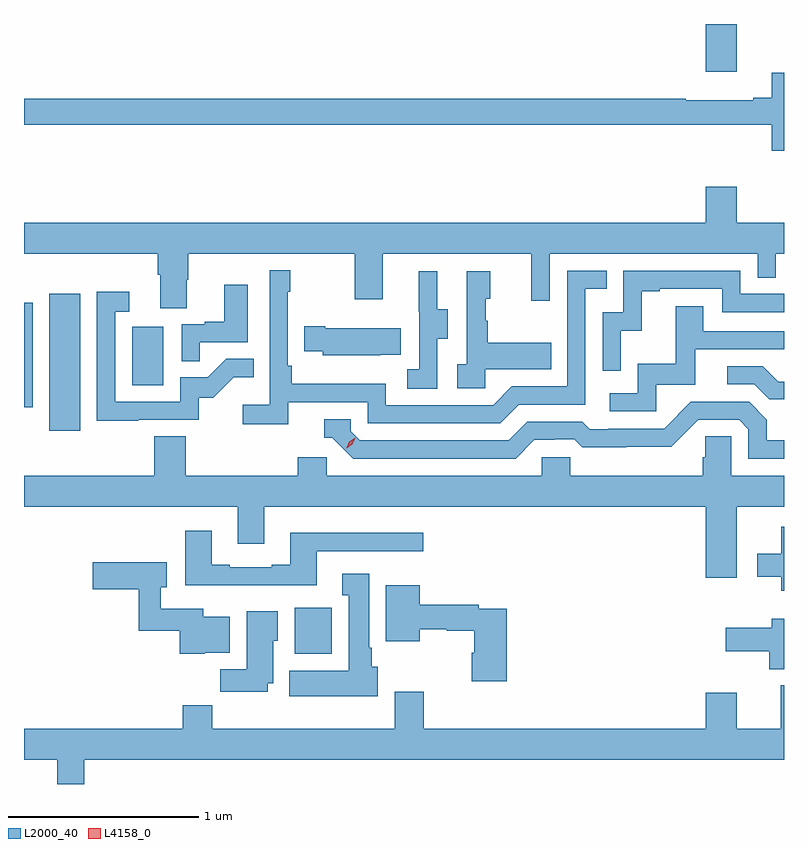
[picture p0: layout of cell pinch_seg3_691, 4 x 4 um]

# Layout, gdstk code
import gdstk
lib = gdstk.Library(unit=1e-6, precision=1e-09)
def R(c, l, rs):  # rectangles x0, y0, x1, y1
    for r in rs: c.add(gdstk.rectangle(r[:2], r[2:], *l))
def P(c, l, *ps):  # polygons
    for p in ps: c.add(gdstk.Polygon(p, *l))
L2000_40 = (2000, 40)
L4158_0 = (4158, 0)

pinch_seg3_691 = lib.new_cell('pinch_seg3_691')
R(pinch_seg3_691, L2000_40, [(1109.897,681.494,1110.094,681.736), (1108.607,682.668,1108.768,683.389), (1108.473,682.791,1108.518,683.342), (1109.042,682.908,1109.206,683.215), (1112.06,684.558,1112.224,684.809)])
P(pinch_seg3_691, L2000_40, [(1112.473,684.553),(1112.408,684.553),(1112.408,684.422),(1112.312,684.422),(1112.312,684.409),(1111.956,684.409),(1111.956,684.416),(1108.473,684.416),(1108.473,684.28),(1112.408,684.28),(1112.408,684.143),(1112.473,684.143)],
  [(1109.329,683.463),(1109.337,683.463),(1109.337,683.6),(1110.214,683.6),(1110.214,683.361),(1110.361,683.361),(1110.361,683.6),(1111.142,683.6),(1111.142,683.352),(1111.239,683.352),(1111.239,683.6),(1112.334,683.6),(1112.334,683.473),(1112.43,683.473),(1112.43,683.6),(1112.473,683.6),(1112.473,683.764),(1112.224,683.764),(1112.224,683.953),(1112.06,683.953),(1112.06,683.764),(1108.473,683.764),(1108.473,683.6),(1109.177,683.6),(1109.177,683.488),(1109.189,683.488),(1109.189,683.314),(1109.329,683.314)],
  [(1109.864,682.818),(1110.282,682.818),(1110.282,682.707),(1110.979,682.707),(1111.078,682.806),(1111.428,682.806),(1111.428,683.415),(1111.541,683.415),(1111.541,683.511),(1111.332,683.511),(1111.332,682.902),(1111.041,682.902),(1110.942,682.803),(1110.378,682.803),(1110.378,682.915),(1109.882,682.915),(1109.882,683.011),(1109.862,683.011),(1109.862,683.399),(1109.875,683.399),(1109.875,683.512),(1109.766,683.512),(1109.766,682.804),(1109.625,682.804),(1109.625,682.702),(1109.864,682.702)],
  [(1111.614,683.195),(1111.724,683.195),(1111.724,683.403),(1111.819,683.403),(1111.819,683.415),(1112.148,683.415),(1112.148,683.292),(1112.473,683.292),(1112.473,683.388),(1112.244,683.388),(1112.244,683.511),(1111.626,683.511),(1111.626,683.292),(1111.518,683.292),(1111.518,682.983),(1111.614,682.983)],
  [(1110.9,682.991),(1111.247,682.991),(1111.247,683.131),(1110.913,683.131),(1110.913,683.246),(1110.903,683.246),(1110.903,683.364),(1110.928,683.364),(1110.928,683.509),(1110.804,683.509),(1110.804,683.018),(1110.753,683.018),(1110.753,682.893),(1110.9,682.893)],
  [(1110.648,683.152),(1110.703,683.152),(1110.703,683.307),(1110.649,683.307),(1110.649,683.509),(1110.551,683.509),(1110.551,683.295),(1110.552,683.295),(1110.552,682.991),(1110.489,682.991),(1110.489,682.888),(1110.648,682.888)],
  [(1109.399,683.133),(1109.65,683.133),(1109.65,683.437),(1109.528,683.437),(1109.528,683.242),(1109.425,683.242),(1109.425,683.229),(1109.304,683.229),(1109.304,683.035),(1109.399,683.035)],
  [(1109.075,682.725),(1109.394,682.725),(1109.394,682.842),(1109.47,682.842),(1109.577,682.949),(1109.681,682.949),(1109.681,683.048),(1109.538,683.048),(1109.44,682.95),(1109.295,682.95),(1109.295,682.821),(1108.953,682.821),(1108.953,683.295),(1109.026,683.295),(1109.026,683.401),(1108.857,683.401),(1108.857,682.72),(1109.075,682.72)],
  [(1111.8,682.911),(1112.005,682.911),(1112.005,683.097),(1112.473,683.097),(1112.473,683.193),(1112.047,683.193),(1112.047,683.323),(1111.903,683.323),(1111.903,683.02),(1111.704,683.02),(1111.704,682.866),(1111.557,682.866),(1111.557,682.77),(1111.8,682.77)],
  [(1110.347,683.069),(1110.455,683.069),(1110.455,683.209),(1110.058,683.209),(1110.058,683.217),(1109.947,683.217),(1109.947,683.087),(1110.045,683.087),(1110.045,683.066),(1110.347,683.066)],
  [(1112.473,682.926),(1112.443,682.926),(1112.362,683.007),(1112.175,683.007),(1112.175,682.914),(1112.316,682.914),(1112.396,682.834),(1112.473,682.834)],
  [(1111.159,682.62),(1111.266,682.62),(1111.266,682.623),(1111.369,682.623),(1111.411,682.581),(1111.644,682.581),(1111.644,682.583),(1111.88,682.583),(1112.022,682.725),(1112.238,682.725),(1112.286,682.677),(1112.286,682.521),(1112.473,682.521),(1112.473,682.617),(1112.383,682.617),(1112.383,682.727),(1112.289,682.821),(1111.983,682.821),(1111.842,682.68),(1111.549,682.68),(1111.549,682.677),(1111.45,682.677),(1111.411,682.716),(1111.122,682.716),(1111.023,682.617),(1110.24,682.617),(1110.192,682.665),(1110.192,682.728),(1110.053,682.728),(1110.053,682.632),(1110.096,682.632),(1110.207,682.521),(1111.06,682.521)],
  [(1112.224,682.268),(1112.473,682.268),(1112.473,682.432),(1112.196,682.432),(1112.196,682.64),(1112.059,682.64),(1112.059,682.53),(1112.045,682.53),(1112.045,682.432),(1111.347,682.432),(1111.347,682.53),(1111.197,682.53),(1111.197,682.432),(1110.066,682.432),(1110.066,682.53),(1109.915,682.53),(1109.915,682.432),(1109.324,682.432),(1109.324,682.64),(1109.159,682.64),(1109.159,682.432),(1108.473,682.432),(1108.473,682.268),(1109.597,682.268),(1109.597,682.074),(1109.737,682.074),(1109.737,682.268),(1112.06,682.268),(1112.06,681.894),(1112.224,681.894)],
  [(1112.473,682.162),(1112.458,682.162),(1112.458,682.021),(1112.331,682.021),(1112.331,681.899),(1112.459,681.899),(1112.459,681.827),(1112.473,681.827)],
  [(1110.013,682.035),(1110.574,682.035),(1110.574,682.132),(1109.873,682.132),(1109.873,681.964),(1109.777,681.964),(1109.777,681.951),(1109.557,681.951),(1109.557,681.964),(1109.461,681.964),(1109.461,682.141),(1109.321,682.141),(1109.321,681.854),(1110.013,681.854)],
  [(1109.424,681.5),(1109.557,681.5),(1109.557,681.688),(1109.416,681.688),(1109.416,681.732),(1109.193,681.732),(1109.193,681.845),(1109.224,681.845),(1109.224,681.975),(1108.836,681.975),(1108.836,681.833),(1109.077,681.833),(1109.077,681.616),(1109.294,681.616),(1109.294,681.494),(1109.424,681.494)],
  [(1110.334,681.426),(1110.304,681.426),(1110.304,681.526),(1110.289,681.526),(1110.289,681.916),(1110.149,681.916),(1110.149,681.803),(1110.182,681.803),(1110.182,681.406),(1109.87,681.406),(1109.87,681.272),(1110.334,681.272)],
  [(1111.013,681.732),(1110.866,681.732),(1110.866,681.752),(1110.556,681.752),(1110.556,681.856),(1110.377,681.856),(1110.377,681.56),(1110.556,681.56),(1110.556,681.624),(1110.699,681.624),(1110.699,681.616),(1110.842,681.616),(1110.842,681.501),(1110.83,681.501),(1110.83,681.351),(1111.013,681.351)],
  [(1109.755,681.338),(1109.785,681.338),(1109.785,681.564),(1109.809,681.564),(1109.809,681.718),(1109.645,681.718),(1109.645,681.412),(1109.506,681.412),(1109.506,681.294),(1109.755,681.294)],
  [(1112.473,681.679),(1112.408,681.679),(1112.408,681.631),(1112.166,681.631),(1112.166,681.509),(1112.396,681.509),(1112.396,681.413),(1112.473,681.413)],
  [(1108.789,680.936),(1112.473,680.936),(1112.473,681.328),(1112.455,681.328),(1112.455,681.1),(1112.224,681.1),(1112.224,681.289),(1112.06,681.289),(1112.06,681.1),(1110.578,681.1),(1110.578,681.295),(1110.425,681.295),(1110.425,681.1),(1109.465,681.1),(1109.465,681.224),(1109.309,681.224),(1109.309,681.1),(1108.473,681.1),(1108.473,680.936),(1108.649,680.936),(1108.649,680.809),(1108.789,680.809)])
P(pinch_seg3_691, L4158_0, [(1110.171,682.577),(1110.171,682.578),(1110.186,682.611),(1110.216,682.631),(1110.217,682.631),(1110.217,682.631),(1110.201,682.598),(1110.171,682.577)])

lib.write_gds('pinch_seg3_691.gds')
